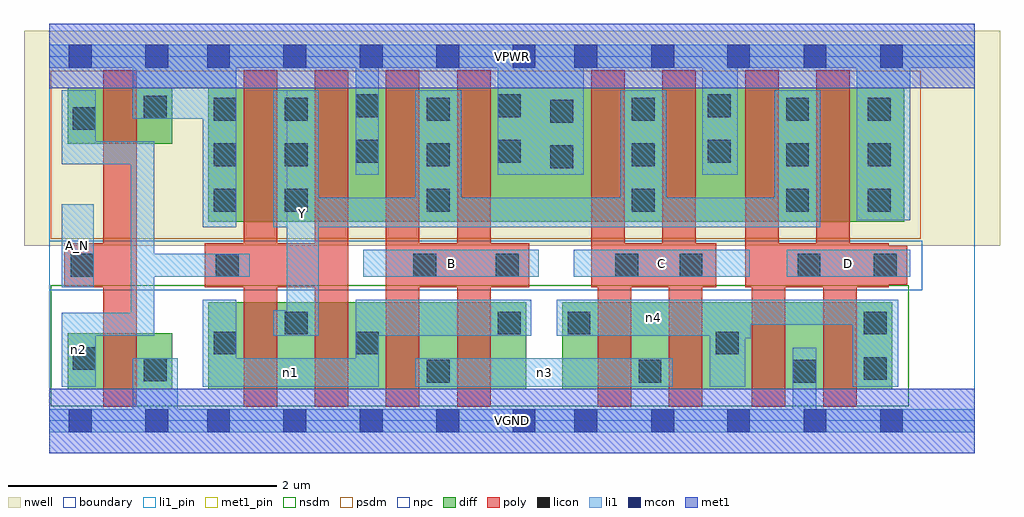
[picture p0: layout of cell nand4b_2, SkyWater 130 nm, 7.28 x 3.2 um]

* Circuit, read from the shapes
.subckt nand4b_2 A_N B C D VGND VPWR Y n1 n2 n3 n4
XM1 VGND A_N n2 VSUBS sky130_fd_pr__nfet_01v8 w=0.42 l=0.25
XM2 Y n2 n1 VSUBS sky130_fd_pr__nfet_01v8 w=0.65 l=0.25 m=2
XM3 n3 B n1 VSUBS sky130_fd_pr__nfet_01v8 w=0.65 l=0.25 m=2
XM4 n3 C n4 VSUBS sky130_fd_pr__nfet_01v8 w=0.65 l=0.25 m=2
XM5 VGND D n4 VSUBS sky130_fd_pr__nfet_01v8 w=0.65 l=0.25 m=2
XM6 VPWR A_N n2 n5 sky130_fd_pr__pfet_01v8 w=0.42 l=0.25
XM7 Y n2 VPWR n5 sky130_fd_pr__pfet_01v8 w=1 l=0.25 m=2
XM8 Y B VPWR n5 sky130_fd_pr__pfet_01v8 w=1 l=0.25 m=2
XM9 Y C VPWR n5 sky130_fd_pr__pfet_01v8 w=1 l=0.25 m=2
XM10 Y D VPWR n5 sky130_fd_pr__pfet_01v8 w=1 l=0.25 m=2
.ends

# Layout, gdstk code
import gdstk
lib = gdstk.Library(unit=1e-6, precision=1e-09)
def R(c, l, rs):  # rectangles x0, y0, x1, y1
    for r in rs: c.add(gdstk.rectangle(r[:2], r[2:], *l))
def A(c, l, x, y, w, h, nx, ny, dx, dy):  # array of equal rectangles
    R(c, l, [(x+i*dx, y+j*dy, x+i*dx+w, y+j*dy+h) for i in range(nx) for j in range(ny)])
nwell = (64, 20)
diff = (65, 20)
poly = (66, 20)
licon = (66, 44)
li1_pin = (67, 16)
li1 = (67, 20)
mcon = (67, 44)
met1_pin = (68, 16)
met1 = (68, 20)
nsdm = (93, 44)
psdm = (94, 20)
npc = (95, 20)
boundary = (235, 4)

nand4b_2 = lib.new_cell('nand4b_2')
R(nand4b_2, nwell, [(-0.19,1.305,7.09,2.91), (0,1.305,6.9,2.91)])
R(nand4b_2, diff, [(0.135,0.235,0.915,0.655), (1.185,0.235,3.555,0.885), (3.825,0.235,6.285,0.885), (1.185,1.485,6.375,2.485), (0.135,2.065,0.915,2.485)])
A(nand4b_2, poly, 1.45, 0.105, 0.25, 2.51, 4, 1, 0.53, 0)
R(nand4b_2, poly, [(0.4,0.105,0.65,2.615), (4.09,0.105,4.34,1.325), (4.62,0.105,4.87,1.325), (5.24,0.105,5.49,1.325), (5.77,0.105,6.02,1.325), (0.11,0.995,0.65,1.325), (1.16,0.995,2.23,1.325), (2.51,0.995,3.58,1.325), (4.04,0.995,4.29,2.615), (4.04,0.995,4.975,1.325), (4.57,0.995,4.82,2.615), (5.19,0.995,6.26,1.325), (5.19,0.995,5.44,2.615), (5.72,0.995,5.97,2.615), (5.19,1.015,6.4,1.305)])
A(nand4b_2, licon, 1.225, 1.56, 0.17, 0.17, 1, 3, 0, 0.34)
A(nand4b_2, licon, 1.755, 1.56, 0.17, 0.17, 1, 3, 0, 0.34)
A(nand4b_2, licon, 2.815, 1.56, 0.17, 0.17, 1, 3, 0, 0.34)
A(nand4b_2, licon, 4.345, 1.56, 0.17, 0.17, 1, 3, 0, 0.34)
A(nand4b_2, licon, 5.495, 1.56, 0.17, 0.17, 1, 3, 0, 0.34)
A(nand4b_2, licon, 6.105, 1.56, 0.17, 0.17, 1, 3, 0, 0.34)
R(nand4b_2, licon, [(2.815,0.285,2.985,0.455), (4.395,0.285,4.565,0.455), (5.545,0.285,5.715,0.455), (0.705,0.295,0.875,0.465), (6.075,0.305,6.245,0.475), (0.175,0.38,0.345,0.55), (1.225,0.495,1.395,0.665), (2.285,0.495,2.455,0.665), (4.97,0.495,5.14,0.665), (1.755,0.645,1.925,0.815), (3.345,0.645,3.515,0.815), (3.865,0.645,4.035,0.815), (6.075,0.645,6.245,0.815), (0.16,1.075,0.33,1.245), (1.24,1.075,1.41,1.245), (2.715,1.075,2.885,1.245), (3.33,1.075,3.5,1.245), (4.22,1.075,4.39,1.245), (4.7,1.075,4.87,1.245), (5.58,1.075,5.75,1.245), (6.15,1.075,6.32,1.245), (3.735,1.885,3.905,2.055), (2.285,1.925,2.455,2.095), (3.345,1.925,3.515,2.095), (4.91,1.925,5.08,2.095), (0.175,2.17,0.345,2.34), (3.735,2.225,3.905,2.395), (0.705,2.255,0.875,2.425), (2.285,2.265,2.455,2.435), (3.345,2.265,3.515,2.435), (4.91,2.265,5.08,2.435)])
R(nand4b_2, li1_pin, [(1.77,0.635,2.01,2.465), (0.09,0.995,0.33,1.615), (2.34,1.075,3.65,1.275), (3.91,1.075,5.225,1.275), (5.5,1.075,6.42,1.275)])
R(nand4b_2, li1, [(0,-0.085,6.9,0.085), (0.62,-0.085,0.955,0.465), (5.545,-0.085,5.72,0.545), (0.09,0.255,0.345,0.805), (1.145,0.255,2.455,0.465), (1.145,0.255,1.395,0.905), (2.285,0.255,2.455,0.905), (2.73,0.255,4.65,0.465), (4.925,0.255,5.19,0.905), (5.99,0.255,6.33,0.905), (4.925,0.615,5.23,0.905), (0.09,0.635,0.78,0.805), (0.605,0.635,0.78,2.085), (1.67,0.635,2.01,0.825), (1.77,0.635,2.01,2.465), (2.285,0.635,3.595,0.905), (3.785,0.635,5.23,0.905), (3.785,0.715,6.33,0.905), (0.09,0.995,0.33,1.615), (0.605,1.075,1.495,1.245), (2.34,1.075,3.65,1.275), (3.91,1.075,5.225,1.275), (5.5,1.075,6.42,1.275), (1.145,1.445,1.395,2.805), (1.67,1.445,5.75,1.665), (1.67,1.445,2.01,2.465), (2.73,1.445,3.07,2.465), (4.26,1.445,4.6,2.465), (5.41,1.445,5.75,2.465), (6.02,1.495,6.42,2.805), (2.285,1.835,2.455,2.805), (3.345,1.835,3.985,2.805), (4.87,1.835,5.135,2.805), (0.09,1.915,0.345,2.465), (0.09,1.915,0.78,2.085), (0.62,2.255,1.395,2.805), (0,2.635,6.9,2.805)])
A(nand4b_2, mcon, 1.175, -0.085, 0.17, 0.17, 5, 2, 0.57, 2.72)
A(nand4b_2, mcon, 5.055, -0.085, 0.17, 0.17, 3, 2, 0.57, 2.72)
R(nand4b_2, mcon, [(0.145,-0.085,0.315,0.085), (0.715,-0.085,0.885,0.085), (3.915,-0.085,4.085,0.085), (4.49,-0.085,4.66,0.085), (0.145,2.635,0.315,2.805), (0.715,2.635,0.885,2.805), (3.915,2.635,4.085,2.805), (4.49,2.635,4.66,2.805)])
R(nand4b_2, met1_pin, [(0,-0.24,6.9,0.24), (0,2.48,6.9,2.96)])
R(nand4b_2, met1, [(0,-0.24,6.9,0.24), (0,2.48,6.9,2.96)])
R(nand4b_2, nsdm, [(0.01,0.11,6.41,1.01)])
R(nand4b_2, psdm, [(0.01,1.36,6.5,2.61)])
R(nand4b_2, npc, [(0,0.975,6.51,1.345)])
R(nand4b_2, boundary, [(0,0,6.9,2.72)])
nand4b_2.add(gdstk.Label('A_N', (0.21,1.305), layer=67, texttype=5))
nand4b_2.add(gdstk.Label('B', (2.995,1.175), layer=67, texttype=5))
nand4b_2.add(gdstk.Label('C', (4.567,1.175), layer=67, texttype=5))
nand4b_2.add(gdstk.Label('D', (5.96,1.175), layer=67, texttype=5))
nand4b_2.add(gdstk.Label('Y', (1.89,1.55), layer=67, texttype=5))
nand4b_2.add(gdstk.Label('n3', (3.69,0.36), layer=67, texttype=5))
nand4b_2.add(gdstk.Label('n1', (1.8,0.36), layer=67, texttype=5))
nand4b_2.add(gdstk.Label('n4', (4.507,0.77), layer=67, texttype=5))
nand4b_2.add(gdstk.Label('n2', (0.217,0.53), layer=67, texttype=5))
nand4b_2.add(gdstk.Label('VPWR', (3.45,2.72), layer=68, texttype=5))
nand4b_2.add(gdstk.Label('VGND', (3.45,0), layer=68, texttype=5))
nand4b_2.add(gdstk.Label('A_N', (0.21,1.305), layer=67, texttype=16))
nand4b_2.add(gdstk.Label('B', (2.995,1.175), layer=67, texttype=16))
nand4b_2.add(gdstk.Label('C', (4.567,1.175), layer=67, texttype=16))
nand4b_2.add(gdstk.Label('D', (5.96,1.175), layer=67, texttype=16))
nand4b_2.add(gdstk.Label('Y', (1.89,1.55), layer=67, texttype=16))
nand4b_2.add(gdstk.Label('VPWR', (3.45,2.72), layer=68, texttype=16))
nand4b_2.add(gdstk.Label('VGND', (3.45,0), layer=68, texttype=16))

lib.write_gds('nand4b_2.gds')
